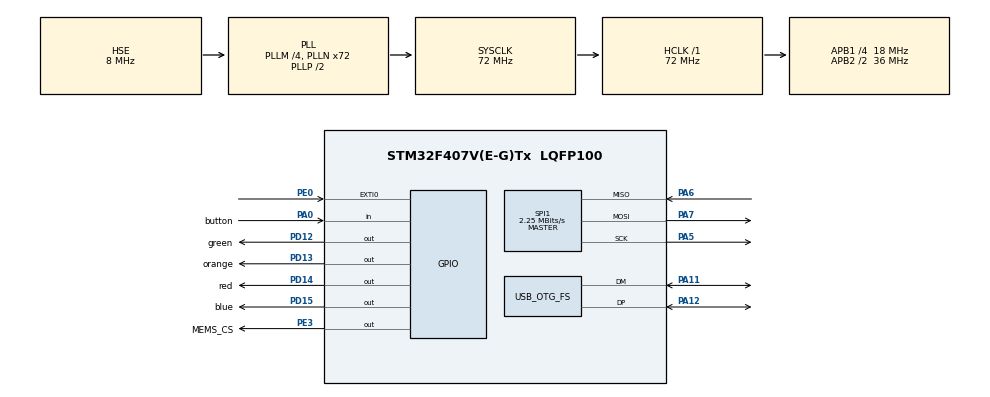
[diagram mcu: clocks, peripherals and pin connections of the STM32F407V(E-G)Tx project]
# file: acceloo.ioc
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Mcu.Family=STM32F4
Mcu.Name=STM32F407V(E-G)Tx
Mcu.Package=LQFP100
NVIC.EXTI0_IRQn=true\:0\:0\:false\:false\:true\:true\:true\:true
NVIC.OTG_FS_IRQn=true\:0\:0\:false\:false\:true\:false\:true\:true
NVIC.PriorityGroup=NVIC_PRIORITYGROUP_4
PA0-WKUP.GPIO_Label=button
PA0-WKUP.Signal=GPIO_Input
PA11.Mode=Device_Only
PA11.Signal=USB_OTG_FS_DM
PA12.Mode=Device_Only
PA12.Signal=USB_OTG_FS_DP
PA5.Mode=Full_Duplex_Master
PA5.Signal=SPI1_SCK
PA6.Mode=Full_Duplex_Master
PA6.Signal=SPI1_MISO
PA7.Mode=Full_Duplex_Master
PA7.Signal=SPI1_MOSI
PD12.GPIO_Label=green
PD12.Signal=GPIO_Output
PD13.GPIO_Label=orange
PD13.Signal=GPIO_Output
PD14.GPIO_Label=red
PD14.Signal=GPIO_Output
PD15.GPIO_Label=blue
PD15.Signal=GPIO_Output
PE0.Signal=GPXTI0
PE3.GPIO_Label=MEMS_CS
PE3.Signal=GPIO_Output
PH0-OSC_IN.Mode=HSE-External-Oscillator
PH0-OSC_IN.Signal=RCC_OSC_IN
PH1-OSC_OUT.Mode=HSE-External-Oscillator
PH1-OSC_OUT.Signal=RCC_OSC_OUT
ProjectManager.HeapSize=0x200
ProjectManager.StackSize=0x400
ProjectManager.TargetToolchain=STM32CubeIDE
RCC.48MHZClocksFreq_Value=48000000
RCC.AHBFreq_Value=72000000
RCC.APB1CLKDivider=RCC_HCLK_DIV4
RCC.APB1Freq_Value=18000000
RCC.APB1TimFreq_Value=36000000
RCC.APB2CLKDivider=RCC_HCLK_DIV2
RCC.APB2Freq_Value=36000000
RCC.APB2TimFreq_Value=72000000
RCC.CortexFreq_Value=72000000
RCC.HCLKFreq_Value=72000000
RCC.HSE_VALUE=8000000
RCC.HSI_VALUE=16000000
RCC.LSE_VALUE=32768
RCC.PLLM=4
RCC.PLLN=72
RCC.PLLQ=3
RCC.SYSCLKFreq_VALUE=72000000
RCC.SYSCLKSource=RCC_SYSCLKSOURCE_PLLCLK
RCC.VCOOutputFreq_Value=144000000
SPI1.BaudRatePrescaler=SPI_BAUDRATEPRESCALER_16
SPI1.CalculateBaudRate=2.25 MBits/s
SPI1.Direction=SPI_DIRECTION_2LINES
SPI1.Mode=SPI_MODE_MASTER
SPI1.VirtualType=VM_MASTER
USB_DEVICE.CLASS_NAME_FS=CDC
USB_DEVICE.VirtualMode-CDC_FS=Cdc
USB_DEVICE.VirtualModeFS=Cdc_FS
USB_OTG_FS.VirtualMode=Device_Only
VP_USB_DEVICE_VS_USB_DEVICE_CDC_FS.Mode=CDC_FS
board=custom

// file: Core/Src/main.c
/* USER CODE BEGIN Header */
/**
  ******************************************************************************
  * @file           : main.c
  * @brief          : Main program body
  ******************************************************************************
  * @attention
  *
  * Copyright (c) 2022 STMicroelectronics.
  * All rights reserved.
  *
  * This software is licensed under terms that can be found in the LICENSE file
  * in the root directory of this software component.
  * If no LICENSE file comes with this software, it is provided AS-IS.
  *
  ******************************************************************************
  */
/* USER CODE END Header */
#include "main.h"
#include "usb_device.h"

/* USER CODE BEGIN Includes */
#include "MY_LIS3DSH.h"
//#include "usbd_cdc_if.h"
#include "string.h"
//uint8_t externbuffer[64];
/* USER CODE END Includes */

SPI_HandleTypeDef hspi1;

/* USER CODE BEGIN PV */
char x_arr[32];
char y_arr[32];
char z_arr[32];
char all_arr[100];
/* USER CODE END PV */

void SystemClock_Config(void);
static void MX_GPIO_Init(void);
static void MX_SPI1_Init(void);

/* USER CODE BEGIN 0 */
LIS3DSH_DataScaled myData;
uint8_t trex=0;
void combiner(){
			strcat(all_arr,x_arr);
			strcat(all_arr,y_arr);
			strcat(all_arr,z_arr);
			}
void cleaner(){
	for(int i=0;i<100;i++){
		x_arr[i]='\0';
		y_arr[i]='\0';
		z_arr[i]='\0';
		all_arr[i]='\0';
}}
/* USER CODE END 0 */

int main(void)
{
  /* USER CODE BEGIN 1 */
	LIS3DSH_InitTypeDef myAccConfigDef;
  /* USER CODE END 1 */

  /* MCU Configuration--------------------------------------------------------*/

  /* Reset of all peripherals, Initializes the Flash interface and the Systick. */
  HAL_Init();

  /* Configure the system clock */
  SystemClock_Config();

  /* Initialize all configured peripherals */
  MX_GPIO_Init();
  MX_SPI1_Init();
  MX_USB_DEVICE_Init();
  /* USER CODE BEGIN 2 */
  CDC_Transmit_FS("hello", strlen("hello"));
  myAccConfigDef.dataRate = LIS3DSH_DATARATE_800;
  	myAccConfigDef.fullScale = LIS3DSH_FULLSCALE_4;
  	myAccConfigDef.antiAliasingBW = LIS3DSH_FILTER_BW_50;
  	myAccConfigDef.enableAxes = LIS3DSH_XYZ_ENABLE;
  	myAccConfigDef.interruptEnable = true;
  	LIS3DSH_Init(&hspi1, &myAccConfigDef);

  	LIS3DSH_X_calibrate(-1000.0, 980.0);
  	LIS3DSH_Y_calibrate(-1020.0, 1040.0);
  	LIS3DSH_Z_calibrate(-920.0, 1040.0);
  /* USER CODE END 2 */

  /* Infinite loop */
  while (1)
  {

    /* USER CODE BEGIN 3 */
	  if(trex == 1){
		  	  	trex=0;
	  		    myData = LIS3DSH_GetDataScaled();
	  			snprintf(x_arr,sizeof(x_arr),"%f,",myData.x);
	  			snprintf(y_arr,sizeof(y_arr),"%f,",myData.y);
	  			snprintf(z_arr,sizeof(z_arr),"%f\n",myData.z);
	  			combiner();
	  			CDC_Transmit_FS(all_arr, strlen(all_arr));
	  			cleaner();

  }
  }
  /* USER CODE END 3 */
}

void SystemClock_Config(void)
{
  RCC_OscInitTypeDef RCC_OscInitStruct = {0};
  RCC_ClkInitTypeDef RCC_ClkInitStruct = {0};

  /** Configure the main internal regulator output voltage
  */
  __HAL_RCC_PWR_CLK_ENABLE();
  __HAL_PWR_VOLTAGESCALING_CONFIG(PWR_REGULATOR_VOLTAGE_SCALE1);

  /** Initializes the RCC Oscillators according to the specified parameters
  * in the RCC_OscInitTypeDef structure.
  */
  RCC_OscInitStruct.OscillatorType = RCC_OSCILLATORTYPE_HSE;
  RCC_OscInitStruct.HSEState = RCC_HSE_ON;
  RCC_OscInitStruct.PLL.PLLState = RCC_PLL_ON;
  RCC_OscInitStruct.PLL.PLLSource = RCC_PLLSOURCE_HSE;
  RCC_OscInitStruct.PLL.PLLM = 4;
  RCC_OscInitStruct.PLL.PLLN = 72;
  RCC_OscInitStruct.PLL.PLLP = RCC_PLLP_DIV2;
  RCC_OscInitStruct.PLL.PLLQ = 3;
  if (HAL_RCC_OscConfig(&RCC_OscInitStruct) != HAL_OK)
  {
    Error_Handler();
  }

  /** Initializes the CPU, AHB and APB buses clocks
  */
  RCC_ClkInitStruct.ClockType = RCC_CLOCKTYPE_HCLK|RCC_CLOCKTYPE_SYSCLK
                              |RCC_CLOCKTYPE_PCLK1|RCC_CLOCKTYPE_PCLK2;
  RCC_ClkInitStruct.SYSCLKSource = RCC_SYSCLKSOURCE_PLLCLK;
  RCC_ClkInitStruct.AHBCLKDivider = RCC_SYSCLK_DIV1;
  RCC_ClkInitStruct.APB1CLKDivider = RCC_HCLK_DIV4;
  RCC_ClkInitStruct.APB2CLKDivider = RCC_HCLK_DIV2;

  if (HAL_RCC_ClockConfig(&RCC_ClkInitStruct, FLASH_LATENCY_2) != HAL_OK)
  {
    Error_Handler();
  }
}

static void MX_SPI1_Init(void)
{

  /* SPI1 parameter configuration*/
  hspi1.Instance = SPI1;
  hspi1.Init.Mode = SPI_MODE_MASTER;
  hspi1.Init.Direction = SPI_DIRECTION_2LINES;
  hspi1.Init.DataSize = SPI_DATASIZE_8BIT;
  hspi1.Init.CLKPolarity = SPI_POLARITY_LOW;
  hspi1.Init.CLKPhase = SPI_PHASE_1EDGE;
  hspi1.Init.NSS = SPI_NSS_SOFT;
  hspi1.Init.BaudRatePrescaler = SPI_BAUDRATEPRESCALER_16;
  hspi1.Init.FirstBit = SPI_FIRSTBIT_MSB;
  hspi1.Init.TIMode = SPI_TIMODE_DISABLE;
  hspi1.Init.CRCCalculation = SPI_CRCCALCULATION_DISABLE;
  hspi1.Init.CRCPolynomial = 10;
  if (HAL_SPI_Init(&hspi1) != HAL_OK)
  {
    Error_Handler();
  }

}

static void MX_GPIO_Init(void)
{
  GPIO_InitTypeDef GPIO_InitStruct = {0};

  /* GPIO Ports Clock Enable */
  __HAL_RCC_GPIOE_CLK_ENABLE();
  __HAL_RCC_GPIOH_CLK_ENABLE();
  __HAL_RCC_GPIOA_CLK_ENABLE();
  __HAL_RCC_GPIOD_CLK_ENABLE();

  /*Configure GPIO pin Output Level */
  HAL_GPIO_WritePin(MEMS_CS_GPIO_Port, MEMS_CS_Pin, GPIO_PIN_RESET);

  /*Configure GPIO pin Output Level */
  HAL_GPIO_WritePin(GPIOD, green_Pin|orange_Pin|red_Pin|blue_Pin, GPIO_PIN_RESET);

  /*Configure GPIO pin : MEMS_CS_Pin */
  GPIO_InitStruct.Pin = MEMS_CS_Pin;
  GPIO_InitStruct.Mode = GPIO_MODE_OUTPUT_PP;
  GPIO_InitStruct.Pull = GPIO_NOPULL;
  GPIO_InitStruct.Speed = GPIO_SPEED_FREQ_LOW;
  HAL_GPIO_Init(MEMS_CS_GPIO_Port, &GPIO_InitStruct);

  /*Configure GPIO pin : button_Pin */
  GPIO_InitStruct.Pin = button_Pin;
  GPIO_InitStruct.Mode = GPIO_MODE_INPUT;
  GPIO_InitStruct.Pull = GPIO_NOPULL;
  HAL_GPIO_Init(button_GPIO_Port, &GPIO_InitStruct);

  /*Configure GPIO pins : green_Pin orange_Pin red_Pin blue_Pin */
  GPIO_InitStruct.Pin = green_Pin|orange_Pin|red_Pin|blue_Pin;
  GPIO_InitStruct.Mode = GPIO_MODE_OUTPUT_PP;
  GPIO_InitStruct.Pull = GPIO_NOPULL;
  GPIO_InitStruct.Speed = GPIO_SPEED_FREQ_LOW;
  HAL_GPIO_Init(GPIOD, &GPIO_InitStruct);

  /*Configure GPIO pin : PE0 */
  GPIO_InitStruct.Pin = GPIO_PIN_0;
  GPIO_InitStruct.Mode = GPIO_MODE_IT_RISING;
  GPIO_InitStruct.Pull = GPIO_NOPULL;
  HAL_GPIO_Init(GPIOE, &GPIO_InitStruct);

  /* EXTI interrupt init*/
  HAL_NVIC_SetPriority(EXTI0_IRQn, 0, 0);
  HAL_NVIC_EnableIRQ(EXTI0_IRQn);

}

/* USER CODE BEGIN 4 */
void HAL_GPIO_EXTI_Callback(uint16_t GPIO_Pin)
{
	if(HAL_GPIO_ReadPin(GPIOE, GPIO_PIN_0)){
			trex = 1;
	}
}
/* USER CODE END 4 */

void Error_Handler(void)
{
  __disable_irq();
  while (1)
  {
  }
}
